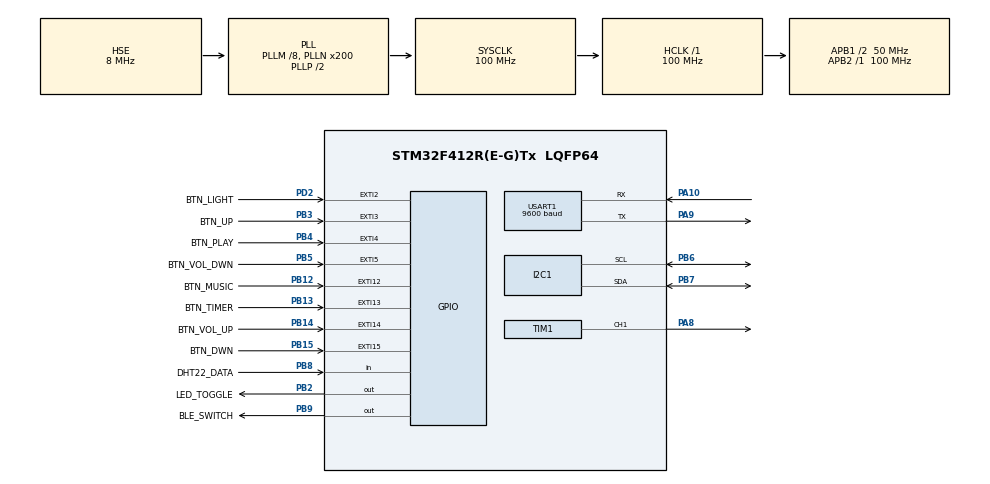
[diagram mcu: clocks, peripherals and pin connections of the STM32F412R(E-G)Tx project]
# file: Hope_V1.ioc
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Dma.I2C1_TX.2.Direction=DMA_MEMORY_TO_PERIPH
Dma.I2C1_TX.2.FIFOMode=DMA_FIFOMODE_DISABLE
Dma.I2C1_TX.2.Instance=DMA1_Stream1
Dma.I2C1_TX.2.MemDataAlignment=DMA_MDATAALIGN_BYTE
Dma.I2C1_TX.2.MemInc=DMA_MINC_ENABLE
Dma.I2C1_TX.2.Mode=DMA_NORMAL
Dma.I2C1_TX.2.PeriphDataAlignment=DMA_PDATAALIGN_BYTE
Dma.I2C1_TX.2.PeriphInc=DMA_PINC_DISABLE
Dma.I2C1_TX.2.Priority=DMA_PRIORITY_LOW
Dma.Request0=USART1_TX
Dma.Request1=TIM1_CH1
Dma.Request2=I2C1_TX
Dma.Request3=USART1_RX
Dma.TIM1_CH1.1.Direction=DMA_MEMORY_TO_PERIPH
Dma.TIM1_CH1.1.FIFOMode=DMA_FIFOMODE_DISABLE
Dma.TIM1_CH1.1.Instance=DMA2_Stream1
Dma.TIM1_CH1.1.MemDataAlignment=DMA_MDATAALIGN_HALFWORD
Dma.TIM1_CH1.1.MemInc=DMA_MINC_ENABLE
Dma.TIM1_CH1.1.Mode=DMA_CIRCULAR
Dma.TIM1_CH1.1.PeriphDataAlignment=DMA_PDATAALIGN_HALFWORD
Dma.TIM1_CH1.1.PeriphInc=DMA_PINC_DISABLE
Dma.TIM1_CH1.1.Priority=DMA_PRIORITY_VERY_HIGH
Dma.USART1_RX.3.Direction=DMA_PERIPH_TO_MEMORY
Dma.USART1_RX.3.FIFOMode=DMA_FIFOMODE_DISABLE
Dma.USART1_RX.3.Instance=DMA2_Stream2
Dma.USART1_RX.3.MemDataAlignment=DMA_MDATAALIGN_BYTE
Dma.USART1_RX.3.MemInc=DMA_MINC_ENABLE
Dma.USART1_RX.3.Mode=DMA_CIRCULAR
Dma.USART1_RX.3.PeriphDataAlignment=DMA_PDATAALIGN_BYTE
Dma.USART1_RX.3.PeriphInc=DMA_PINC_DISABLE
Dma.USART1_RX.3.Priority=DMA_PRIORITY_LOW
Dma.USART1_TX.0.Direction=DMA_MEMORY_TO_PERIPH
Dma.USART1_TX.0.FIFOMode=DMA_FIFOMODE_DISABLE
Dma.USART1_TX.0.Instance=DMA2_Stream7
Dma.USART1_TX.0.MemDataAlignment=DMA_MDATAALIGN_BYTE
Dma.USART1_TX.0.MemInc=DMA_MINC_ENABLE
Dma.USART1_TX.0.Mode=DMA_NORMAL
Dma.USART1_TX.0.PeriphDataAlignment=DMA_PDATAALIGN_BYTE
Dma.USART1_TX.0.PeriphInc=DMA_PINC_DISABLE
Dma.USART1_TX.0.Priority=DMA_PRIORITY_LOW
FREERTOS.Tasks01=defaultTask,24,128,StartDefaultTask,Default,NULL,Dynamic,NULL,NULL
FREERTOS.configCHECK_FOR_STACK_OVERFLOW=2
FREERTOS.configENABLE_FPU=1
FREERTOS.configTOTAL_HEAP_SIZE=20480
FREERTOS.configUSE_MALLOC_FAILED_HOOK=1
FREERTOS.configUSE_NEWLIB_REENTRANT=1
I2C1.I2C_Mode=I2C_Fast
Mcu.Family=STM32F4
Mcu.Name=STM32F412R(E-G)Tx
Mcu.Package=LQFP64
NVIC.DMA1_Stream1_IRQn=true\:5\:0\:false\:false\:true\:true\:false\:true\:true
NVIC.DMA2_Stream1_IRQn=true\:5\:0\:false\:false\:true\:true\:false\:true\:true
NVIC.DMA2_Stream2_IRQn=true\:5\:0\:false\:false\:true\:true\:false\:true\:true
NVIC.DMA2_Stream7_IRQn=true\:5\:0\:false\:false\:true\:true\:false\:true\:true
NVIC.EXTI15_10_IRQn=true\:5\:0\:false\:false\:true\:true\:true\:true\:true
NVIC.EXTI2_IRQn=true\:5\:0\:true\:false\:true\:true\:true\:true\:true
NVIC.EXTI3_IRQn=true\:5\:0\:false\:false\:true\:true\:true\:true\:true
NVIC.EXTI4_IRQn=true\:5\:0\:false\:false\:true\:true\:true\:true\:true
NVIC.EXTI9_5_IRQn=true\:5\:0\:false\:false\:true\:true\:true\:true\:true
NVIC.I2C1_ER_IRQn=true\:5\:0\:false\:false\:true\:true\:true\:true\:true
NVIC.I2C1_EV_IRQn=true\:5\:0\:false\:false\:true\:true\:true\:true\:true
NVIC.PriorityGroup=NVIC_PRIORITYGROUP_4
NVIC.TIM1_TRG_COM_TIM11_IRQn=true\:15\:0\:false\:false\:true\:false\:false\:true\:true
NVIC.TimeBase=TIM1_TRG_COM_TIM11_IRQn
NVIC.TimeBaseIP=TIM11
NVIC.USART1_IRQn=true\:5\:0\:false\:false\:true\:true\:true\:true\:true
PA10.Mode=Asynchronous
PA10.Signal=USART1_RX
PA13.Mode=Serial_Wire
PA13.Signal=SYS_JTMS-SWDIO
PA14.Mode=Serial_Wire
PA14.Signal=SYS_JTCK-SWCLK
PA8.Signal=S_TIM1_CH1
PA9.Mode=Asynchronous
PA9.Signal=USART1_TX
PB12.GPIO_Label=BTN_MUSIC
PB12.Signal=GPXTI12
PB13.GPIO_Label=BTN_TIMER
PB13.Signal=GPXTI13
PB14.GPIO_Label=BTN_VOL_UP
PB14.Signal=GPXTI14
PB15.GPIO_Label=BTN_DWN
PB15.Signal=GPXTI15
PB2.GPIO_Label=LED_TOGGLE
PB2.Signal=GPIO_Output
PB3.GPIO_Label=BTN_UP
PB3.Signal=GPXTI3
PB4.GPIO_Label=BTN_PLAY
PB4.Signal=GPXTI4
PB5.GPIO_Label=BTN_VOL_DWN
PB5.Signal=GPXTI5
PB6.Mode=I2C
PB6.Signal=I2C1_SCL
PB7.Mode=I2C
PB7.Signal=I2C1_SDA
PB8.GPIO_Label=DHT22_DATA
PB8.Signal=GPIO_Input
PB9.GPIO_Label=BLE_SWITCH
PB9.Signal=GPIO_Output
PD2.GPIO_Label=BTN_LIGHT
PD2.Signal=GPXTI2
PH0\ -\ OSC_IN.Mode=HSE-External-Oscillator
PH0\ -\ OSC_IN.Signal=RCC_OSC_IN
PH1\ -\ OSC_OUT.Mode=HSE-External-Oscillator
PH1\ -\ OSC_OUT.Signal=RCC_OSC_OUT
ProjectManager.HeapSize=0x200
ProjectManager.StackSize=0x400
ProjectManager.TargetToolchain=STM32CubeIDE
RCC.AHBFreq_Value=100000000
RCC.APB1CLKDivider=RCC_HCLK_DIV2
RCC.APB1Freq_Value=50000000
RCC.APB1TimFreq_Value=100000000
RCC.APB2Freq_Value=100000000
RCC.APB2TimFreq_Value=100000000
RCC.CortexFreq_Value=100000000
RCC.HCLKFreq_Value=100000000
RCC.HSE_VALUE=8000000
RCC.PLLM=8
RCC.PLLN=200
RCC.PLLSourceVirtual=RCC_PLLSOURCE_HSE
RCC.SYSCLKFreq_VALUE=100000000
RCC.SYSCLKSource=RCC_SYSCLKSOURCE_PLLCLK
RCC.USBFreq_Value=100000000
RCC.VCOOutputFreq_Value=200000000
SH.S_TIM1_CH1.0=TIM1_CH1,PWM Generation1 CH1
TIM1.AutoReloadPreload=TIM_AUTORELOAD_PRELOAD_ENABLE
TIM1.Channel-PWM\ Generation1\ CH1=TIM_CHANNEL_1
TIM1.Period=124
USART1.BaudRate=9600
USART1.VirtualMode=VM_ASYNC
VP_FREERTOS_VS_CMSIS_V2.Mode=CMSIS_V2
VP_SYS_VS_tim11.Mode=TIM11
board=custom

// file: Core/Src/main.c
/* USER CODE BEGIN Header */
/**
 ******************************************************************************
 * @file           : main.c
 * @brief          : Main program body
 ******************************************************************************
 * @attention
 *
 * Copyright (c) 2026 STMicroelectronics.
 * All rights reserved.
 *
 * This software is licensed under terms that can be found in the LICENSE file
 * in the root directory of this software component.
 * If no LICENSE file comes with this software, it is provided AS-IS.
 *
 ******************************************************************************
 */
/* USER CODE END Header */
#include "main.h"
#include "cmsis_os.h"

/* USER CODE BEGIN Includes */

#include "tasks.h"
#include "FreeRTOS.h"
#include "task.h"
#include "queue.h"
#include "app_queue.h"
#include "ui_state.h"
#include "music.h"
#include "semphr.h"
#include "DHT22_driver.h"
#include "alarm_service.h"
#include "light.h"

/* USER CODE END Includes */

I2C_HandleTypeDef hi2c1;
DMA_HandleTypeDef hdma_i2c1_tx;

TIM_HandleTypeDef htim1;
DMA_HandleTypeDef hdma_tim1_ch1;

UART_HandleTypeDef huart1;
DMA_HandleTypeDef hdma_usart1_tx;
DMA_HandleTypeDef hdma_usart1_rx;

/* Definitions for defaultTask */
osThreadId_t defaultTaskHandle;
const osThreadAttr_t defaultTask_attributes = {
  .name = "defaultTask",
  .stack_size = 128 * 4,
  .priority = (osPriority_t) osPriorityNormal,
};
/* USER CODE BEGIN PV */

QueueHandle_t uiQueueHandle;
QueueHandle_t musicQueueHandle;
QueueHandle_t lightQueueHandle;
SemaphoreHandle_t i2c_dma_sem;
SemaphoreHandle_t i2c_mutex;

/* USER CODE END PV */

void SystemClock_Config(void);
static void MX_GPIO_Init(void);
static void MX_DMA_Init(void);
static void MX_I2C1_Init(void);
static void MX_USART1_UART_Init(void);
static void MX_TIM1_Init(void);
void StartDefaultTask(void *argument);

/* USER CODE BEGIN 0 */

BaseType_t createTasks() {

	BaseType_t status1 = xTaskCreate(ui_Task, "UI Task", 1000,
	NULL, 2,
	NULL);

	// Music runs one level above the UI so audio commands aren't delayed by
	// screen redraws or the ~6 ms DHT22 read in the UI task
	BaseType_t status2 = xTaskCreate(music_Task, "music Task", 1000,
	NULL, 3,
	NULL);

	BaseType_t status3 = xTaskCreate(light_Task, "light Task", 1000,
	NULL, 1,
	NULL);

	if (status1 != pdPASS || status2 != pdPASS || status3 != pdPASS) {
		return pdFAIL;
	}
	return pdPASS;

}

/* USER CODE END 0 */

int main(void)
{

  /* MCU Configuration--------------------------------------------------------*/

  /* Reset of all peripherals, Initializes the Flash interface and the Systick. */
  HAL_Init();

  /* Configure the system clock */
  SystemClock_Config();

  /* Initialize all configured peripherals */
  MX_GPIO_Init();
  MX_DMA_Init();
  MX_I2C1_Init();
  MX_USART1_UART_Init();
  MX_TIM1_Init();
  /* USER CODE BEGIN 2 */
	DHT22_init();
	alarm_service_init();
  /* USER CODE END 2 */

  /* Init scheduler */
  osKernelInitialize();

  /* USER CODE BEGIN RTOS_SEMAPHORES */
	/* add semaphores, ... */

	i2c_dma_sem = xSemaphoreCreateBinary();
	i2c_mutex =  xSemaphoreCreateMutex();

	if (i2c_dma_sem == NULL || i2c_mutex == NULL) {
		NVIC_SystemReset();
	}
  /* USER CODE END RTOS_SEMAPHORES */

  /* USER CODE BEGIN RTOS_QUEUES */
	/* add queues, ... */

	uiQueueHandle = xQueueCreate(8, sizeof(ui_msg_t));

	if (uiQueueHandle == NULL) {
		NVIC_SystemReset();
	}

	musicQueueHandle = xQueueCreate(8, sizeof(music_msg_t));

	if (musicQueueHandle == NULL) {
		NVIC_SystemReset();
	}

	lightQueueHandle = xQueueCreate(8, sizeof(light_msg_t));
	if (lightQueueHandle == NULL) {
		NVIC_SystemReset();
	}

  /* USER CODE END RTOS_QUEUES */

  /* Create the thread(s) */
  /* creation of defaultTask */
  defaultTaskHandle = osThreadNew(StartDefaultTask, NULL, &defaultTask_attributes);

  /* USER CODE BEGIN RTOS_THREADS */
	/* add threads, ... */

	if (createTasks() != pdPASS) {
		NVIC_SystemReset();
	}

	//Put in own function so you can do error checking
  /* USER CODE END RTOS_THREADS */

  /* Start scheduler */
  osKernelStart();

  /* We should never get here as control is now taken by the scheduler */

  /* Infinite loop */
	while (1) {

	}
}

void SystemClock_Config(void)
{
  RCC_OscInitTypeDef RCC_OscInitStruct = {0};
  RCC_ClkInitTypeDef RCC_ClkInitStruct = {0};

  /** Configure the main internal regulator output voltage
  */
  __HAL_RCC_PWR_CLK_ENABLE();
  __HAL_PWR_VOLTAGESCALING_CONFIG(PWR_REGULATOR_VOLTAGE_SCALE1);

  /** Initializes the RCC Oscillators according to the specified parameters
  * in the RCC_OscInitTypeDef structure.
  */
  RCC_OscInitStruct.OscillatorType = RCC_OSCILLATORTYPE_HSE;
  RCC_OscInitStruct.HSEState = RCC_HSE_ON;
  RCC_OscInitStruct.PLL.PLLState = RCC_PLL_ON;
  RCC_OscInitStruct.PLL.PLLSource = RCC_PLLSOURCE_HSE;
  RCC_OscInitStruct.PLL.PLLM = 8;
  RCC_OscInitStruct.PLL.PLLN = 200;
  RCC_OscInitStruct.PLL.PLLP = RCC_PLLP_DIV2;
  RCC_OscInitStruct.PLL.PLLQ = 2;
  RCC_OscInitStruct.PLL.PLLR = 2;
  if (HAL_RCC_OscConfig(&RCC_OscInitStruct) != HAL_OK)
  {
    Error_Handler();
  }

  /** Initializes the CPU, AHB and APB buses clocks
  */
  RCC_ClkInitStruct.ClockType = RCC_CLOCKTYPE_HCLK|RCC_CLOCKTYPE_SYSCLK
                              |RCC_CLOCKTYPE_PCLK1|RCC_CLOCKTYPE_PCLK2;
  RCC_ClkInitStruct.SYSCLKSource = RCC_SYSCLKSOURCE_PLLCLK;
  RCC_ClkInitStruct.AHBCLKDivider = RCC_SYSCLK_DIV1;
  RCC_ClkInitStruct.APB1CLKDivider = RCC_HCLK_DIV2;
  RCC_ClkInitStruct.APB2CLKDivider = RCC_HCLK_DIV1;

  if (HAL_RCC_ClockConfig(&RCC_ClkInitStruct, FLASH_LATENCY_3) != HAL_OK)
  {
    Error_Handler();
  }
}

static void MX_I2C1_Init(void)
{

  hi2c1.Instance = I2C1;
  hi2c1.Init.ClockSpeed = 400000;
  hi2c1.Init.DutyCycle = I2C_DUTYCYCLE_2;
  hi2c1.Init.OwnAddress1 = 0;
  hi2c1.Init.AddressingMode = I2C_ADDRESSINGMODE_7BIT;
  hi2c1.Init.DualAddressMode = I2C_DUALADDRESS_DISABLE;
  hi2c1.Init.OwnAddress2 = 0;
  hi2c1.Init.GeneralCallMode = I2C_GENERALCALL_DISABLE;
  hi2c1.Init.NoStretchMode = I2C_NOSTRETCH_DISABLE;
  if (HAL_I2C_Init(&hi2c1) != HAL_OK)
  {
    Error_Handler();
  }

}

static void MX_TIM1_Init(void)
{

  TIM_MasterConfigTypeDef sMasterConfig = {0};
  TIM_OC_InitTypeDef sConfigOC = {0};
  TIM_BreakDeadTimeConfigTypeDef sBreakDeadTimeConfig = {0};

  htim1.Instance = TIM1;
  htim1.Init.Prescaler = 0;
  htim1.Init.CounterMode = TIM_COUNTERMODE_UP;
  htim1.Init.Period = 124;
  htim1.Init.ClockDivision = TIM_CLOCKDIVISION_DIV1;
  htim1.Init.RepetitionCounter = 0;
  htim1.Init.AutoReloadPreload = TIM_AUTORELOAD_PRELOAD_ENABLE;
  if (HAL_TIM_PWM_Init(&htim1) != HAL_OK)
  {
    Error_Handler();
  }
  sMasterConfig.MasterOutputTrigger = TIM_TRGO_RESET;
  sMasterConfig.MasterSlaveMode = TIM_MASTERSLAVEMODE_DISABLE;
  if (HAL_TIMEx_MasterConfigSynchronization(&htim1, &sMasterConfig) != HAL_OK)
  {
    Error_Handler();
  }
  sConfigOC.OCMode = TIM_OCMODE_PWM1;
  sConfigOC.Pulse = 0;
  sConfigOC.OCPolarity = TIM_OCPOLARITY_HIGH;
  sConfigOC.OCNPolarity = TIM_OCNPOLARITY_HIGH;
  sConfigOC.OCFastMode = TIM_OCFAST_DISABLE;
  sConfigOC.OCIdleState = TIM_OCIDLESTATE_RESET;
  sConfigOC.OCNIdleState = TIM_OCNIDLESTATE_RESET;
  if (HAL_TIM_PWM_ConfigChannel(&htim1, &sConfigOC, TIM_CHANNEL_1) != HAL_OK)
  {
    Error_Handler();
  }
  sBreakDeadTimeConfig.OffStateRunMode = TIM_OSSR_DISABLE;
  sBreakDeadTimeConfig.OffStateIDLEMode = TIM_OSSI_DISABLE;
  sBreakDeadTimeConfig.LockLevel = TIM_LOCKLEVEL_OFF;
  sBreakDeadTimeConfig.DeadTime = 0;
  sBreakDeadTimeConfig.BreakState = TIM_BREAK_DISABLE;
  sBreakDeadTimeConfig.BreakPolarity = TIM_BREAKPOLARITY_HIGH;
  sBreakDeadTimeConfig.AutomaticOutput = TIM_AUTOMATICOUTPUT_DISABLE;
  if (HAL_TIMEx_ConfigBreakDeadTime(&htim1, &sBreakDeadTimeConfig) != HAL_OK)
  {
    Error_Handler();
  }
  HAL_TIM_MspPostInit(&htim1);

}

static void MX_USART1_UART_Init(void)
{

  huart1.Instance = USART1;
  huart1.Init.BaudRate = 9600;
  huart1.Init.WordLength = UART_WORDLENGTH_8B;
  huart1.Init.StopBits = UART_STOPBITS_1;
  huart1.Init.Parity = UART_PARITY_NONE;
  huart1.Init.Mode = UART_MODE_TX_RX;
  huart1.Init.HwFlowCtl = UART_HWCONTROL_NONE;
  huart1.Init.OverSampling = UART_OVERSAMPLING_16;
  if (HAL_UART_Init(&huart1) != HAL_OK)
  {
    Error_Handler();
  }

}

static void MX_DMA_Init(void)
{

  /* DMA controller clock enable */
  __HAL_RCC_DMA2_CLK_ENABLE();
  __HAL_RCC_DMA1_CLK_ENABLE();

  /* DMA interrupt init */
  /* DMA1_Stream1_IRQn interrupt configuration */
  HAL_NVIC_SetPriority(DMA1_Stream1_IRQn, 5, 0);
  HAL_NVIC_EnableIRQ(DMA1_Stream1_IRQn);
  /* DMA2_Stream1_IRQn interrupt configuration */
  HAL_NVIC_SetPriority(DMA2_Stream1_IRQn, 5, 0);
  HAL_NVIC_EnableIRQ(DMA2_Stream1_IRQn);
  /* DMA2_Stream2_IRQn interrupt configuration */
  HAL_NVIC_SetPriority(DMA2_Stream2_IRQn, 5, 0);
  HAL_NVIC_EnableIRQ(DMA2_Stream2_IRQn);
  /* DMA2_Stream7_IRQn interrupt configuration */
  HAL_NVIC_SetPriority(DMA2_Stream7_IRQn, 5, 0);
  HAL_NVIC_EnableIRQ(DMA2_Stream7_IRQn);

}

static void MX_GPIO_Init(void)
{
  GPIO_InitTypeDef GPIO_InitStruct = {0};

  /* GPIO Ports Clock Enable */
  __HAL_RCC_GPIOH_CLK_ENABLE();
  __HAL_RCC_GPIOB_CLK_ENABLE();
  __HAL_RCC_GPIOA_CLK_ENABLE();
  __HAL_RCC_GPIOD_CLK_ENABLE();

  /*Configure GPIO pin Output Level */
  HAL_GPIO_WritePin(GPIOB, LED_TOGGLE_Pin|BLE_SWITCH_Pin, GPIO_PIN_RESET);

  /*Configure GPIO pins : LED_TOGGLE_Pin BLE_SWITCH_Pin */
  GPIO_InitStruct.Pin = LED_TOGGLE_Pin|BLE_SWITCH_Pin;
  GPIO_InitStruct.Mode = GPIO_MODE_OUTPUT_PP;
  GPIO_InitStruct.Pull = GPIO_NOPULL;
  GPIO_InitStruct.Speed = GPIO_SPEED_FREQ_LOW;
  HAL_GPIO_Init(GPIOB, &GPIO_InitStruct);

  /*Configure GPIO pins : BTN_MUSIC_Pin BTN_TIMER_Pin BTN_VOL_UP_Pin BTN_DWN_Pin
                           BTN_UP_Pin BTN_PLAY_Pin BTN_VOL_DWN_Pin */
  GPIO_InitStruct.Pin = BTN_MUSIC_Pin|BTN_TIMER_Pin|BTN_VOL_UP_Pin|BTN_DWN_Pin
                          |BTN_UP_Pin|BTN_PLAY_Pin|BTN_VOL_DWN_Pin;
  GPIO_InitStruct.Mode = GPIO_MODE_IT_RISING;
  GPIO_InitStruct.Pull = GPIO_NOPULL;
  HAL_GPIO_Init(GPIOB, &GPIO_InitStruct);

  /*Configure GPIO pin : BTN_LIGHT_Pin */
  GPIO_InitStruct.Pin = BTN_LIGHT_Pin;
  GPIO_InitStruct.Mode = GPIO_MODE_IT_RISING;
  GPIO_InitStruct.Pull = GPIO_NOPULL;
  HAL_GPIO_Init(BTN_LIGHT_GPIO_Port, &GPIO_InitStruct);

  /*Configure GPIO pin : DHT22_DATA_Pin */
  GPIO_InitStruct.Pin = DHT22_DATA_Pin;
  GPIO_InitStruct.Mode = GPIO_MODE_INPUT;
  GPIO_InitStruct.Pull = GPIO_NOPULL;
  HAL_GPIO_Init(DHT22_DATA_GPIO_Port, &GPIO_InitStruct);

  /* EXTI interrupt init*/
  HAL_NVIC_SetPriority(EXTI2_IRQn, 5, 0);
  HAL_NVIC_EnableIRQ(EXTI2_IRQn);

  HAL_NVIC_SetPriority(EXTI3_IRQn, 5, 0);
  HAL_NVIC_EnableIRQ(EXTI3_IRQn);

  HAL_NVIC_SetPriority(EXTI4_IRQn, 5, 0);
  HAL_NVIC_EnableIRQ(EXTI4_IRQn);

  HAL_NVIC_SetPriority(EXTI9_5_IRQn, 5, 0);
  HAL_NVIC_EnableIRQ(EXTI9_5_IRQn);

  HAL_NVIC_SetPriority(EXTI15_10_IRQn, 5, 0);
  HAL_NVIC_EnableIRQ(EXTI15_10_IRQn);

}

/* USER CODE BEGIN 4 */

static void i2c_bus_delay(void) {
	for (volatile uint32_t i = 0; i < 500; i++) {
		__NOP(); // a few microseconds at 100 MHz (~100 kHz bit-bang)
	}
}

/**
 * @brief Recovers I2C1 (OLED + DS3231) after a timeout, stuck BUSY flag or bus error.
 * @details De-initialises the peripheral, clocks out up to 9 SCL pulses so a slave
 *          that is holding SDA low can finish its byte, sends a STOP, then
 *          re-initialises I2C1 (MspInit restores the pins, DMA link and IRQs).
 *          Caller must own i2c_mutex (or be the only bus user).
 */
void i2c1_bus_recover(void) {
	GPIO_InitTypeDef GPIO_InitStruct = { 0 };

	HAL_I2C_DeInit(&hi2c1);

	__HAL_RCC_GPIOB_CLK_ENABLE();
	HAL_GPIO_WritePin(GPIOB, GPIO_PIN_6 | GPIO_PIN_7, GPIO_PIN_SET);
	GPIO_InitStruct.Pin = GPIO_PIN_6 | GPIO_PIN_7; // PB6 = SCL, PB7 = SDA
	GPIO_InitStruct.Mode = GPIO_MODE_OUTPUT_OD;
	GPIO_InitStruct.Pull = GPIO_NOPULL;
	GPIO_InitStruct.Speed = GPIO_SPEED_FREQ_HIGH;
	HAL_GPIO_Init(GPIOB, &GPIO_InitStruct);
	i2c_bus_delay();

	for (int i = 0; i < 9; i++) {
		if (HAL_GPIO_ReadPin(GPIOB, GPIO_PIN_7) == GPIO_PIN_SET) {
			break; // SDA released
		}
		HAL_GPIO_WritePin(GPIOB, GPIO_PIN_6, GPIO_PIN_RESET);
		i2c_bus_delay();
		HAL_GPIO_WritePin(GPIOB, GPIO_PIN_6, GPIO_PIN_SET);
		i2c_bus_delay();
	}

	// STOP condition: SDA low -> high while SCL is high
	HAL_GPIO_WritePin(GPIOB, GPIO_PIN_7, GPIO_PIN_RESET);
	i2c_bus_delay();
	HAL_GPIO_WritePin(GPIOB, GPIO_PIN_6, GPIO_PIN_SET);
	i2c_bus_delay();
	HAL_GPIO_WritePin(GPIOB, GPIO_PIN_7, GPIO_PIN_SET);
	i2c_bus_delay();

	HAL_GPIO_DeInit(GPIOB, GPIO_PIN_6 | GPIO_PIN_7);
	HAL_I2C_Init(&hi2c1);
}

/* USER CODE END 4 */

void StartDefaultTask(void *argument)
{
  /* USER CODE BEGIN 5 */
	/* CubeMX's default task has no job in this design (the work is in the UI,
	 * music and light tasks). It ran at osPriorityNormal (24), above all of them,
	 * waking every 1 ms; delete it so the idle task frees its stack/TCB. */
	vTaskDelete(NULL);
  /* USER CODE END 5 */
}

void HAL_TIM_PeriodElapsedCallback(TIM_HandleTypeDef *htim)
{
  if (htim->Instance == TIM11)
  {
    HAL_IncTick();
  }
}

void Error_Handler(void)
{
	__disable_irq();
	while (1) {
	}
}

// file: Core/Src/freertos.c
/* USER CODE BEGIN Header */
/**
  ******************************************************************************
  * File Name          : freertos.c
  * Description        : Code for freertos applications
  ******************************************************************************
  * @attention
  *
  * Copyright (c) 2026 STMicroelectronics.
  * All rights reserved.
  *
  * This software is licensed under terms that can be found in the LICENSE file
  * in the root directory of this software component.
  * If no LICENSE file comes with this software, it is provided AS-IS.
  *
  ******************************************************************************
  */
/* USER CODE END Header */

#include "FreeRTOS.h"
#include "task.h"
#include "main.h"

/* USER CODE BEGIN Application */

/*
 * Called by the kernel when a task overruns its stack (configCHECK_FOR_STACK_OVERFLOW = 2).
 * Debug builds stop here so the debugger shows which task (pcTaskName);
 * release builds reset the device so it recovers on its own.
 */
void vApplicationStackOverflowHook(TaskHandle_t xTask, char *pcTaskName) {
	(void) xTask;
	(void) pcTaskName;
	taskDISABLE_INTERRUPTS();
#ifdef DEBUG
	for (;;) {
	}
#else
	NVIC_SystemReset();
#endif
}

/*
 * Called when pvPortMalloc() fails (configUSE_MALLOC_FAILED_HOOK = 1), i.e. the
 * FreeRTOS heap (configTOTAL_HEAP_SIZE) is exhausted.
 */
void vApplicationMallocFailedHook(void) {
	taskDISABLE_INTERRUPTS();
#ifdef DEBUG
	for (;;) {
	}
#else
	NVIC_SystemReset();
#endif
}

/* USER CODE END Application */
